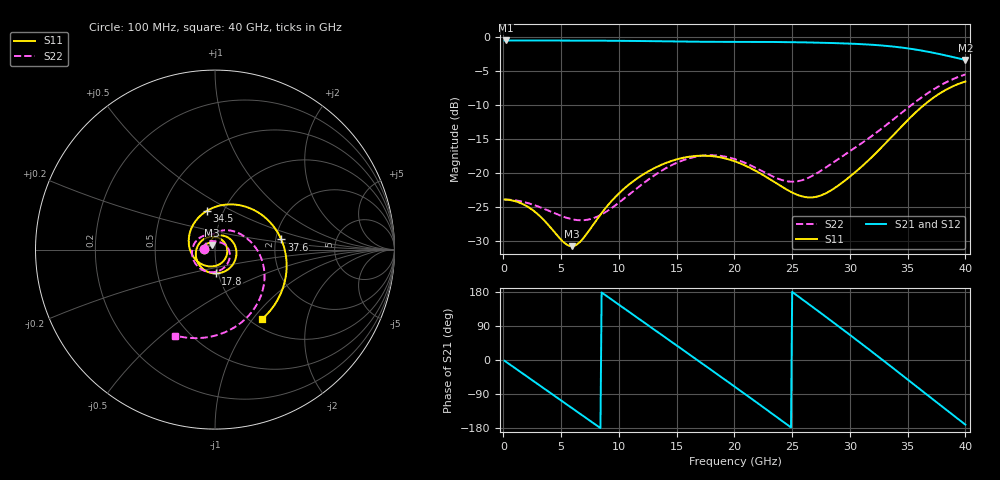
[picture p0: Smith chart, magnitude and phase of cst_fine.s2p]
! C_s8_offset: L1→L8, antipad Ø0.9 offset 0.1 mm from the via
! stackup: 8-layer 1.6 mm FR-4 (generic)
! ports: 1, 2
! CST Studio Suite 2025.5 Release from 2025-05-30, time domain (FIT, hexahedral, PBA), 386496 mesh cells, 72 s
! mesh: {'lpw': 30.0, 'lpb': 30.0, 'minstep': 0.0, 'ratio': 20}; ports: port 1 (face); port 2 (face)
! interpolated from CST's 1001 samples to the case grid
# Hz S RI R 50
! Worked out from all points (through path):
!   400 points, 100 MHz to 40 GHz, reference 50 ohm
!   highest |S21| = -0.57 dB at 200 MHz (marker M1); lowest = -3.4 dB at 40 GHz (marker M2)
!   group delay of S21, straight-line fit = 61.5 ps
!   lowest |S11| = -30.8 dB at 5.9 GHz (marker M3), VSWR 1.06, Z = 48.4 + j2.3 ohm
!   |S11| at or under -10 dB: start of sweep to 36.46 GHz
!   |S22| runs from -27.0 to -5.6 dB; largest |S21 - S12| = 0.00074
!   S11 on the Smith chart (normalised r, x): 100 MHz: 0.88, +0.00; 17.8 GHz: 0.97, -0.26; 34.5 GHz: 0.83, +0.38; 37.6 GHz: 2.14, +0.28; 40 GHz: 1.13, -1.12
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1e8  -0.0634 0.00188  0.936 -0.0349  0.936 -0.0349  -0.0634 0.00192
2e8  -0.0633 0.00376  0.934 -0.0698  0.9341 -0.0698  -0.0633 0.00383
3.3e9  -0.0291 0.0364  0.312 -0.8822  0.312 -0.8822  -0.0312 0.0454
5.9e9  -0.0162 0.0238  -0.5509 -0.755  -0.5508 -0.755  0.00163 0.0455
6.8e9  -0.0208 0.0244  -0.7688 -0.5307  -0.7688 -0.5307  0.01 0.0435
9.7e9  -0.0102 0.0656  -0.8256 0.4317  -0.8257 0.4317  0.0469 0.0333
1.16e10  0.0481 0.0773  -0.3407 0.8637  -0.3407 0.8637  0.0772 -0.00168
1.34e10  0.1072 0.0303  0.2736 0.8829  0.2736 0.8828  0.0768 -0.0635
1.57e10  0.1004 -0.0815  0.844 0.3628  0.844 0.3629  -5.06e-05 -0.1246
1.78e10  0.00419 -0.1328  0.8485 -0.3436  0.8486 -0.3436  -0.0962 -0.0936
2.01e10  -0.0936 -0.0759  0.2827 -0.8696  0.2826 -0.8696  -0.125 0.00839
2.19e10  -0.1023 0.0053  -0.3343 -0.8507  -0.3344 -0.8506  -0.0857 0.0655
2.38e10  -0.0505 0.0644  -0.8165 -0.407  -0.8164 -0.407  -0.0386 0.0814
2.67e10  0.0562 0.0341  -0.7084 0.5625  -0.7085 0.5624  0.00451 0.0942
2.82e10  0.0648 -0.0328  -0.271 0.8564  -0.2711 0.8565  0.0391 0.1062
2.97e10  0.00909 -0.0888  0.2569 0.8519  0.2571 0.852  0.089 0.1057
3.17e10  -0.1171 -0.0447  0.7797 0.3931  0.7797 0.3928  0.1662 0.0713
3.34e10  -0.1333 0.1143  0.8275 -0.1966  0.8272 -0.1966  0.2326 0.00138
3.45e10  -0.0462 0.2154  0.64 -0.529  0.6398 -0.5286  0.2662 -0.0744
3.6e10  0.1679 0.2399  0.1993 -0.7696  0.1997 -0.7694  0.267 -0.2215
3.76e10  0.3691 0.0566  -0.3014 -0.6856  -0.3012 -0.6861  0.1585 -0.3962
4e10  0.2632 -0.3861  -0.6646 -0.1105  -0.6653 -0.1102  -0.2211 -0.4787
